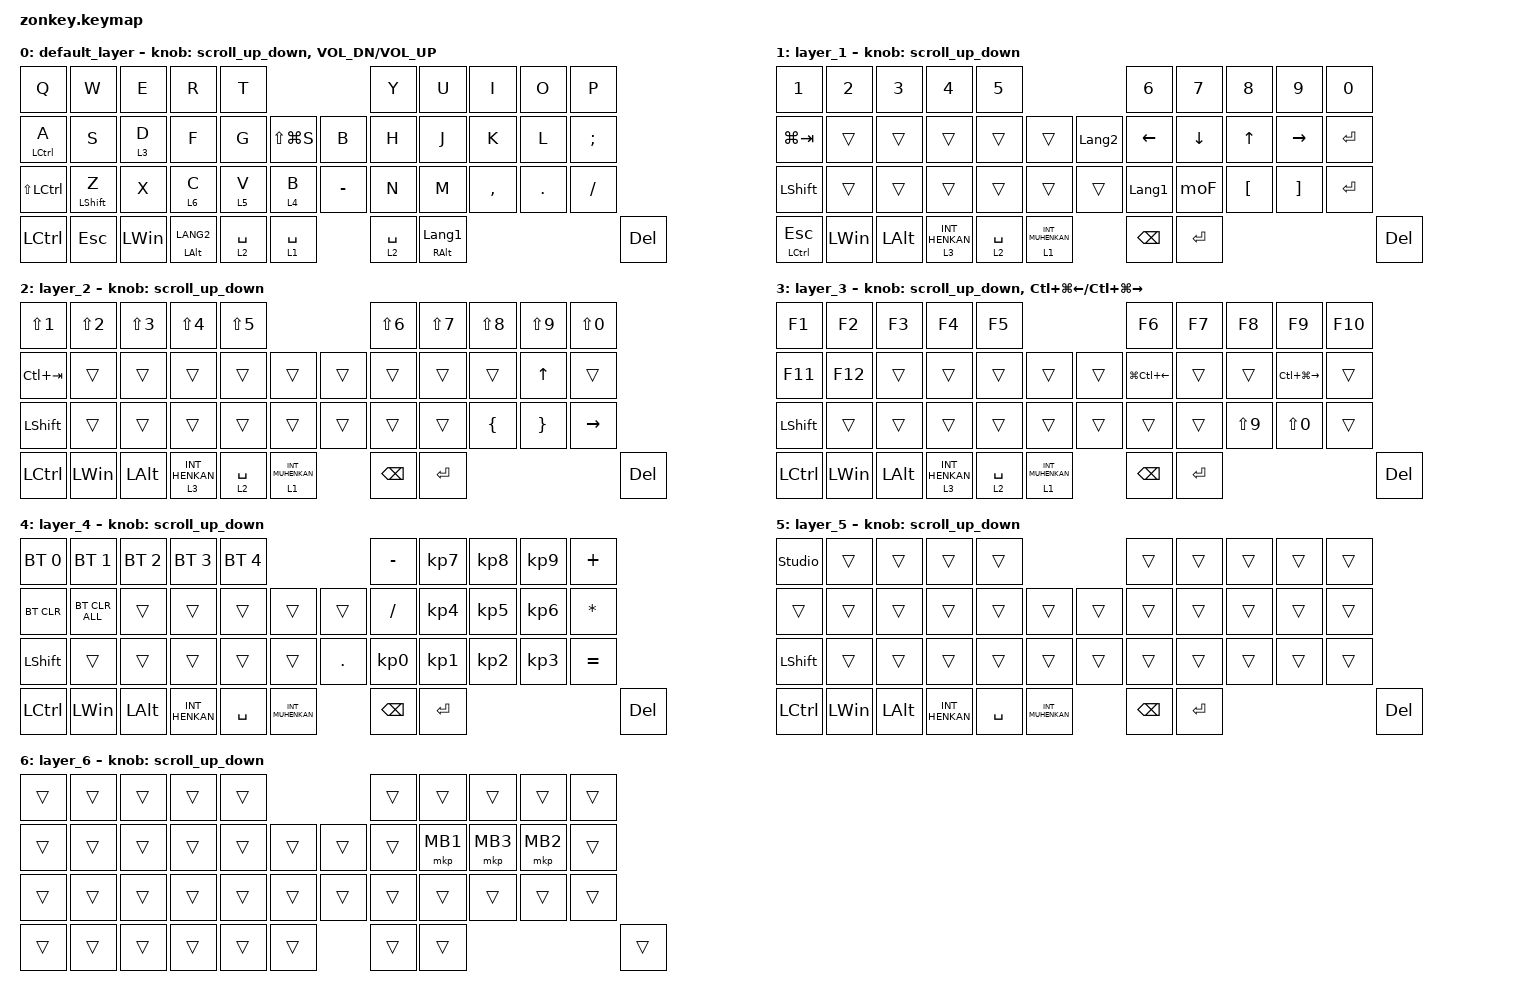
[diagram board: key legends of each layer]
#include <behaviors.dtsi>
#include <dt-bindings/zmk/bt.h>
#include <dt-bindings/zmk/keys.h>
#include <dt-bindings/zmk/pointing.h>

#define ZMK_POINTING_DEFAULT_SCRL_VAL 100
#define MOUSE 6
#define JP_DQUOTE       AT                // "
#define JP_AMPERSAND    CARET             // &
#define JP_QUOTE        AMPERSAND         // '
#define JP_EQUAL        UNDER             // =
#define JP_CARET        EQUAL             // ^
#define JP_YEN          0x89              // ¥
#define JP_PLUS         COLON             // +
#define JP_TILDE        PLUS              // ~
#define JP_PIPE         LS(0x89)          // |
#define JP_AT           LEFT_BRACKET      // @
#define JP_COLON        SINGLE_QUOTE      // :
#define JP_ASTERISK     DOUBLE_QUOTES     // *
#define JP_BACKQUOTE    LEFT_BRACE        // `
#define JP_UNDERSCORE   LS(0x87)          // _
#define JP_LBRACKET     RIGHT_BRACKET     // [
#define JP_RBRACKET     BACKSLASH         // ]
#define JP_LPAREN       ASTERISK          // (
#define JP_RPAREN       LEFT_PARENTHESIS  // )
#define JP_LBRACE       RIGHT_BRACE       // {
#define JP_RBRACE       PIPE              // }
#define JP_KANA         LANGUAGE_1        // かな
#define JP_EISU         LANGUAGE_2        // 英数
#define JP_HANZEN       GRAVE             // 半角/全角
#define JP_BSLH  INT1         // (backslash)

&mt {
    flavor = "balanced";
    quick-tap-ms = <0>;
};

/ {
    combos { compatible = "zmk,combos"; };

    mo2: mo2 {
        compatible = "zmk,behavior-mod-morph";
        #binding-cells = <0>;
        bindings = <&kp N2>, <&kp AT>;

        mods = <(MOD_LSFT|MOD_RSFT)>;
    };

    mo6: mo6 {
        compatible = "zmk,behavior-mod-morph";
        #binding-cells = <0>;
        bindings = <&kp N6>, <&kp CARET>;

        mods = <(MOD_LSFT|MOD_RSFT)>;
    };

    mo7: mo7 {
        compatible = "zmk,behavior-mod-morph";
        #binding-cells = <0>;
        bindings = <&kp N7>, <&kp AMPS>;

        mods = <(MOD_LSFT|MOD_RSFT)>;
    };

    mo8: mo8 {
        compatible = "zmk,behavior-mod-morph";
        #binding-cells = <0>;
        bindings = <&kp N8>, <&kp ASTRK>;

        mods = <(MOD_LSFT|MOD_RSFT)>;
    };

    mo9: mo9 {
        compatible = "zmk,behavior-mod-morph";
        #binding-cells = <0>;
        bindings = <&kp N9>, <&kp LPAR>;

        mods = <(MOD_LSFT|MOD_RSFT)>;
    };

    mo0: mo0 {
        compatible = "zmk,behavior-mod-morph";
        #binding-cells = <0>;
        bindings = <&kp N0>, <&kp LS(N9)>;

        mods = <(MOD_LSFT|MOD_RSFT)>;
    };

    moA: moA {
        compatible = "zmk,behavior-mod-morph";
        #binding-cells = <0>;
        bindings = <&kp MINUS>, <&kp UNDERSCORE>;

        mods = <(MOD_LSFT|MOD_RSFT)>;
    };

    moB: moB {
        compatible = "zmk,behavior-mod-morph";
        #binding-cells = <0>;
        bindings = <&kp EQUAL>, <&kp PLUS>;

        mods = <(MOD_LSFT|MOD_RSFT)>;
    };

    moC: moC {
        compatible = "zmk,behavior-mod-morph";
        #binding-cells = <0>;
        bindings = <&kp INT3>, <&kp JP_PIPE>;

        mods = <(MOD_LSFT|MOD_RSFT)>;
    };

    moD: moD {
        compatible = "zmk,behavior-mod-morph";
        #binding-cells = <0>;
        bindings = <&kp LBKT>, <&kp LBRC>;

        mods = <(MOD_LSFT|MOD_RSFT)>;
    };

    moE: moE {
        compatible = "zmk,behavior-mod-morph";
        #binding-cells = <0>;
        bindings = <&kp RBKT>, <&kp RBRC>;

        mods = <(MOD_LSFT|MOD_RSFT)>;
    };

    moF: moF {
        compatible = "zmk,behavior-mod-morph";
        #binding-cells = <0>;
        bindings = <&kp SEMI>, <&kp KP_PLUS>;

        mods = <(MOD_LSFT|MOD_RSFT)>;
    };

    moG: moG {
        compatible = "zmk,behavior-mod-morph";
        #binding-cells = <0>;
        bindings = <&kp APOSTROPHE>, <&kp DQT>;

        mods = <(MOD_LSFT|MOD_RSFT)>;
    };

    moH: moH {
        compatible = "zmk,behavior-mod-morph";
        #binding-cells = <0>;
        bindings = <&kp BACKSLASH>, <&kp TILDE2>;

        mods = <(MOD_LSFT|MOD_RSFT)>;
    };

    moI: moI {
        compatible = "zmk,behavior-mod-morph";
        #binding-cells = <0>;
        bindings = <&kp JP_BSLH>, <&kp JP_UNDERSCORE>;

        mods = <(MOD_LSFT|MOD_RSFT)>;
    };

    macros {
        to_layer_0: to_layer_0 {
            compatible = "zmk,behavior-macro-one-param";
            #binding-cells = <1>;
            bindings = <&to 0 &macro_param_1to1 &kp MACRO_PLACEHOLDER>;
            label = "TO_LAYER_0";
        };
    };

    behaviors {
        lt_to_layer_0: lt_to_layer_0 {
            compatible = "zmk,behavior-hold-tap";
            label = "LAYER_TAP_TO_0";
            bindings = <&mo>, <&to_layer_0>;

            #binding-cells = <2>;
            tapping-term-ms = <200>;
        };

        scroll_up_down: behavior_sensor_rotate_mouse_wheel_up_down {
            compatible = "zmk,behavior-sensor-rotate";
            #sensor-binding-cells = <0>;
            bindings = <&msc SCRL_DOWN>, <&msc SCRL_UP>;

            tap-ms = <20>;
        };
    };

    keymap {
        compatible = "zmk,keymap";

        default_layer {
            // -----------------------------------------------------------------------------------------
            // |  Q  |  W  |  E  |  R  |  T  |                        |  Y  |  U   |  I  |  O  |  P  | 
            // |  A  |  S  |  D  |  F  |  G  |LS(LG(S))|        　 | - |  H  |  J   |  K  |  L  |  `  | 
            // |SHIFT|  Z  |  X  |  C  |  V  |  B  |           | B |  N  |  M   |  ,  |  .  |  /  | 
            // | CTRL | WIN | ALT |HENKAN|SPACE|MUHENKAN|       | BS | ENT |      　　　　       | DEL |           

            bindings = <
&kp Q               &kp W             &kp E         &kp R               &kp T                                    &kp Y        &kp U                     &kp I      &kp O    &kp P
&mt LEFT_CONTROL A  &kp S             &lt 3 D       &kp F               &kp G        &kp LS(LG(S))    &kp B      &kp H        &kp J                     &kp K      &kp L    &kp SEMICOLON
&kp LS(LCTRL)       &mt LEFT_SHIFT Z  &kp X         &lt 6 C             &lt 5 V      &lt 4 B          &kp MINUS  &kp N        &kp M                     &kp COMMA  &kp DOT  &kp SLASH
&kp LCTRL           &kp ESCAPE        &kp LEFT_WIN  &mt LEFT_ALT LANG2  &lt 2 SPACE  &lt 1 SPACE                 &lt 2 SPACE  &mt RIGHT_ALT LANGUAGE_1                                     &kp DEL
            >;

            sensor-bindings =
                <&scroll_up_down>,
                <&inc_dec_kp C_VOL_DN C_VOL_UP>;
        };

        layer_1 {
            // -----------------------------------------------------------------------------------------
            // |CAPS　| 　　|     |     |                    　　　　　　 |     |     |  -  |  ^  |  ¥  |
            // | TAB |     |     |     |     |     |              |    |     |     |     |  @  |  [  |
            // |SHIFT|     |     |     |     |     |           　 | 英数 | かな |    |  ; |  :  |  ]  |
            // | CTRL| WIN | ALT |HENKAN|SPACE|MUHENKAN|         | BS | ENT |                   | DEL |

            bindings = <
&kp NUMBER_1    &kp NUMBER_2  &kp NUMBER_3  &kp NUMBER_4      &kp N5                                          &kp NUMBER_6    &kp N7          &kp N8            &kp N9             &kp N0
&kp LG(TAB)     &trans        &trans        &trans            &trans       &trans                &kp JP_EISU  &kp LEFT_ARROW  &kp DOWN_ARROW  &kp UP_ARROW      &kp RIGHT_ARROW    &kp ENTER
&kp LEFT_SHIFT  &trans        &trans        &trans            &trans       &trans                &trans       &kp JP_KANA     &moF            &kp LEFT_BRACKET  &kp RIGHT_BRACKET  &kp ENTER
&mt LCTL ESC    &kp LEFT_WIN  &kp LEFT_ALT  &lt 3 INT_HENKAN  &lt 2 SPACE  &lt 1 INT_MUHENKAN                 &kp BACKSPACE   &kp ENTER                                                       &kp DEL
            >;

            sensor-bindings = <&scroll_up_down>;
        };

        layer_2 {
            // -----------------------------------------------------------------------------------------
            // |  1  |  2  |  3  |  4  |  5  |                     |  6  |  7  |  8  |  9  |   0  |
            // |      |     |     |     |     |     |           |    |     |     |     |  ↑  |      |
            // |SHIFT|     |     |     |     |     |           |     |     |     |  ←  |  ↓  |  →  |
            // | CTRL| WIN | ALT |HENKAN|SPACE|MUHENKAN|         | BS | ENT |                   | DEL |

            bindings = <
&kp LS(N1)      &kp LS(NUMBER_2)  &kp LS(N3)    &kp LS(NUMBER_4)  &kp LS(N5)                                 &kp LS(NUMBER_6)  &kp LS(N7)  &kp LS(N8)      &kp LS(N9)       &kp LS(N0)
&kp LC(TAB)     &trans            &trans        &trans            &trans       &trans                &trans  &trans            &trans      &trans          &kp UP_ARROW     &trans
&kp LEFT_SHIFT  &trans            &trans        &trans            &trans       &trans                &trans  &trans            &trans      &kp LEFT_BRACE  &kp RIGHT_BRACE  &kp RIGHT_ARROW
&kp LCTRL       &kp LEFT_WIN      &kp LEFT_ALT  &lt 3 INT_HENKAN  &lt 2 SPACE  &lt 1 INT_MUHENKAN            &kp BACKSPACE     &kp ENTER                                                     &kp DEL
            >;

            sensor-bindings = <&scroll_up_down>;
        };

        layer_3 {
            // -----------------------------------------------------------------------------------------
            // | F1  | F2  | F3  | F4  | F5  |                     | F6  | F7 | F8  | F9 | F10 |
            // | F11 | F12 |     |     |     |     |           |    |     |     |     |     |      |
            // |SHIFT|     |     |     |     |     |           |     |     |     |     |     |      |
            // | CTRL| WIN | ALT |HENKAN|SPACE|MUHENKAN|         | BS | ENT |                   | DEL |

            bindings = <
&kp F1          &kp F2        &kp F3        &kp F4            &kp F5                                     &kp F6                  &kp F7     &kp F8      &kp F9                   &kp F10
&kp F11         &kp F12       &trans        &trans            &trans       &trans                &trans  &kp LG(LC(LEFT_ARROW))  &trans     &trans      &kp LC(LG(RIGHT_ARROW))  &trans
&kp LEFT_SHIFT  &trans        &trans        &trans            &trans       &trans                &trans  &trans                  &trans     &kp LS(N9)  &kp LS(N0)               &trans
&kp LCTRL       &kp LEFT_WIN  &kp LEFT_ALT  &lt 3 INT_HENKAN  &lt 2 SPACE  &lt 1 INT_MUHENKAN            &kp BACKSPACE           &kp ENTER                                                &kp DEL
            >;

            sensor-bindings =
                <&scroll_up_down>,
                <&inc_dec_kp LC(LG(LEFT_ARROW)) LC(LG(RIGHT))>;
        };

        layer_4 {
            // -----------------------------------------------------------------------------------------
            // | BT0 | BT1 | BT2 | BT3 | BT4 |                        |  -  |  7  |  8  |  9  |  +  |
            // |BTCLR |     |     |     |     |     |                 |  /  |  4  |  5  |  6  |  *  | 
            // |SHIFT|     |     |     |     |     |           |  .  |  0  |  1  |  2  |   3  |  =  |
            // | CTRL| WIN | ALT |HENKAN|SPACE|MUHENKAN|        | BS | ENT |                  | DEL |

            bindings = <
&bt BT_SEL 0    &bt BT_SEL 1    &bt BT_SEL 2  &bt BT_SEL 3    &bt BT_SEL 4                               &kp MINUS        &kp KP_NUMBER_7  &kp KP_NUMBER_8  &kp KP_NUMBER_9  &kp PLUS
&bt BT_CLR      &bt BT_CLR_ALL  &trans        &trans          &trans        &trans              &trans   &kp SLASH        &kp KP_NUMBER_4  &kp KP_NUMBER_5  &kp KP_NUMBER_6  &kp ASTERISK
&kp LEFT_SHIFT  &trans          &trans        &trans          &trans        &trans              &kp DOT  &kp KP_NUMBER_0  &kp KP_NUMBER_1  &kp KP_NUMBER_2  &kp KP_NUMBER_3  &kp EQUAL
&kp LCTRL       &kp LEFT_WIN    &kp LEFT_ALT  &kp INT_HENKAN  &kp SPACE     &kp INT_MUHENKAN             &kp BACKSPACE    &kp ENTER                                                        &kp DEL
            >;

            sensor-bindings = <&scroll_up_down>;
        };

        layer_5 {
            // -----------------------------------------------------------------------------------------
            // |      |     |     |     |     |                     |     |     |     |     |      |
            // |      |     |     |     |     |     |           |    |     |     |     |     |      |
            // |SHIFT|     |     |     |     |     |          |     |     |     |     |     |      |
            // | CTRL| WIN | ALT |HENKAN|SPACE|MUHENKAN|        | BS | ENT |                  | DEL |

            bindings = <
&studio_unlock  &trans        &trans        &trans          &trans                                 &trans         &trans     &trans  &trans  &trans
&trans          &trans        &trans        &trans          &trans     &trans              &trans  &trans         &trans     &trans  &trans  &trans
&kp LEFT_SHIFT  &trans        &trans        &trans          &trans     &trans              &trans  &trans         &trans     &trans  &trans  &trans
&kp LCTRL       &kp LEFT_WIN  &kp LEFT_ALT  &kp INT_HENKAN  &kp SPACE  &kp INT_MUHENKAN            &kp BACKSPACE  &kp ENTER                          &kp DEL
            >;

            sensor-bindings = <&scroll_up_down>;
        };

        layer_6 {
            bindings = <
&trans  &trans  &trans  &trans  &trans                    &trans  &trans    &trans    &trans    &trans
&trans  &trans  &trans  &trans  &trans  &trans    &trans  &trans  &mkp MB1  &mkp MB3  &mkp MB2  &trans
&trans  &trans  &trans  &trans  &trans  &trans    &trans  &trans  &trans    &trans    &trans    &trans
&trans  &trans  &trans  &trans  &trans  &trans            &trans  &trans                                &trans
            >;

            sensor-bindings = <&scroll_up_down>;
        };
    };
};
